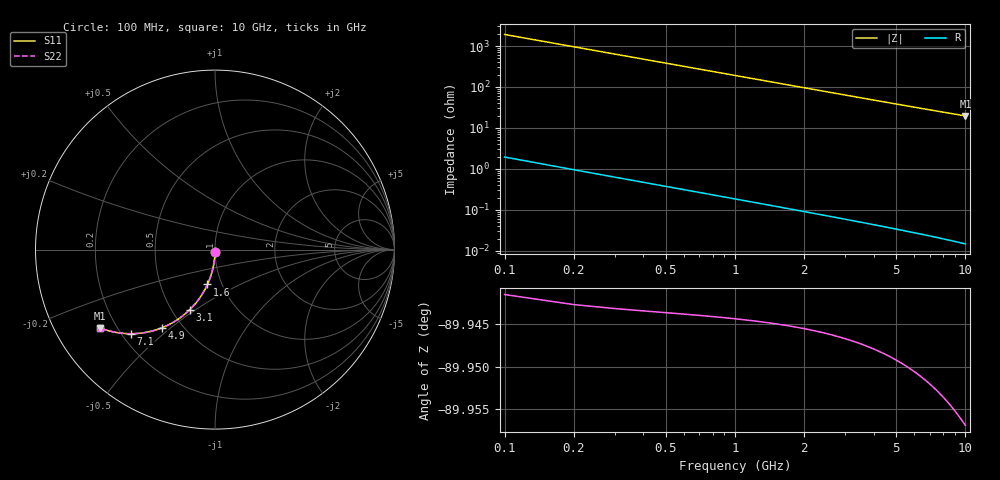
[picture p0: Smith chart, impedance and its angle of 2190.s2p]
# Hz S RI R 50.00
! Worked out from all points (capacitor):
!   100 points, 100 MHz to 10 GHz, reference 50 ohm
!   read as one part in shunt: C = 833 fF near 100 MHz
!   lowest |Z| = 19.7 ohm at 10 GHz (marker M1)
!   S11 on the Smith chart (normalised r, x): 100 MHz: 1.00, -0.03; 1.6 GHz: 0.86, -0.35; 3.1 GHz: 0.61, -0.47; 4.9 GHz: 0.39, -0.47; 7.1 GHz: 0.24, -0.39; 10 GHz: 0.14, -0.30
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1e8  3.38e-06 -0.0127  0.9996 -0.0135  0.9996 -0.0135  3.38e-06 -0.0127
2e8  -0.00052 -0.0253  0.9991 -0.027  0.9991 -0.027  -0.00052 -0.0253
3e8  -0.00138 -0.0379  0.9982 -0.0404  0.9982 -0.0404  -0.00138 -0.0379
4e8  -0.00259 -0.0505  0.997 -0.0538  0.997 -0.0538  -0.00259 -0.0505
5e8  -0.00413 -0.063  0.9955 -0.0672  0.9955 -0.0672  -0.00413 -0.063
6e8  -0.006 -0.0755  0.9936 -0.0805  0.9936 -0.0805  -0.006 -0.0755
7e8  -0.0082 -0.0879  0.9914 -0.0937  0.9914 -0.0937  -0.0082 -0.0879
9e8  -0.0136 -0.1124  0.986 -0.1198  0.986 -0.1198  -0.0136 -0.1124
1.2e9  -0.024 -0.1482  0.9756 -0.1581  0.9756 -0.1581  -0.024 -0.1482
1.6e9  -0.042 -0.1939  0.9576 -0.2072  0.9576 -0.2072  -0.042 -0.1939
1.8e9  -0.0526 -0.2157  0.9469 -0.2306  0.9469 -0.2306  -0.0526 -0.2157
2.4e9  -0.0899 -0.276  0.9095 -0.2959  0.9095 -0.2959  -0.0899 -0.276
3.1e9  -0.1418 -0.3358  0.8575 -0.3615  0.8575 -0.3615  -0.1418 -0.3358
3.4e9  -0.1659 -0.3577  0.8333 -0.3859  0.8333 -0.3859  -0.1659 -0.3577
4.1e9  -0.2247 -0.4002  0.7743 -0.4343  0.7743 -0.4343  -0.2247 -0.4002
4.9e9  -0.2935 -0.4347  0.7053 -0.4755  0.7053 -0.4755  -0.2935 -0.4347
5.1e9  -0.3105 -0.4412  0.6882 -0.4837  0.6882 -0.4837  -0.3105 -0.4412
5.9e9  -0.3769 -0.4596  0.6215 -0.5089  0.6215 -0.5089  -0.3769 -0.4596
6.7e9  -0.4392 -0.4678  0.5588 -0.524  0.5588 -0.524  -0.4392 -0.4678
7.1e9  -0.4685 -0.4687  0.5293 -0.5283  0.5293 -0.5283  -0.4685 -0.4687
8.4e9  -0.5541 -0.4609  0.4429 -0.5318  0.4429 -0.5318  -0.5541 -0.4609
1e10  -0.6402 -0.4363  0.3557 -0.5213  0.3557 -0.5213  -0.6402 -0.4363
